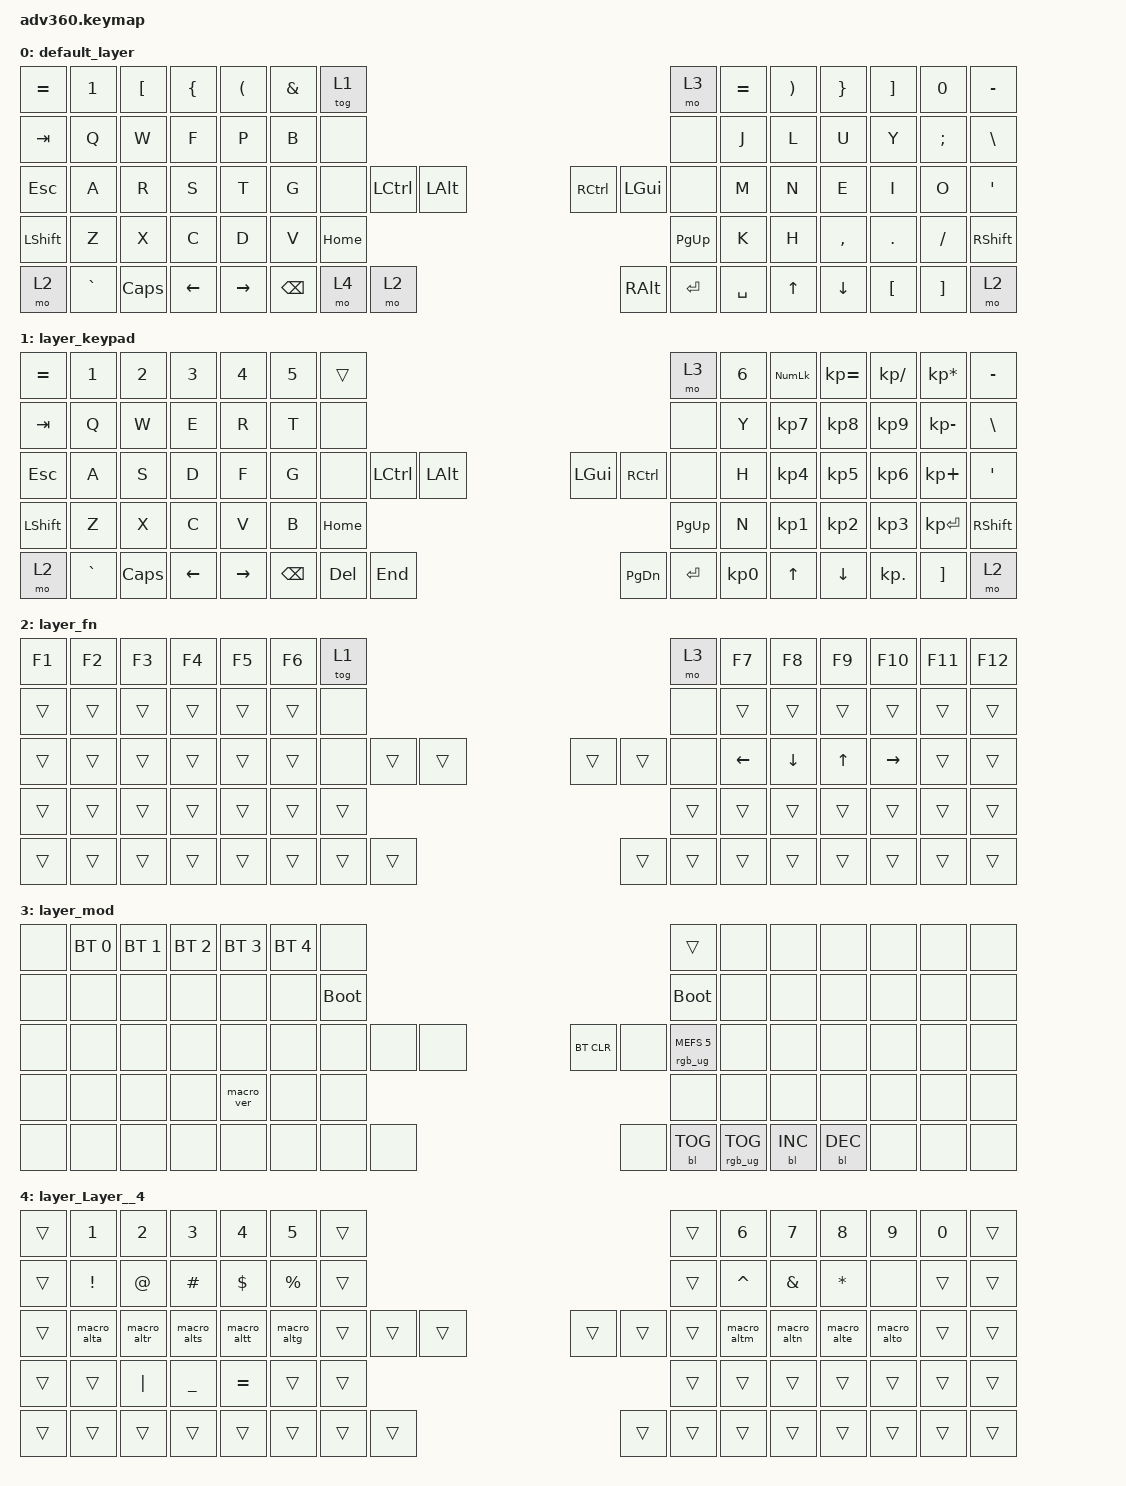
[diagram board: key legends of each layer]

/*
 * Copyright (c) 2020 The ZMK Contributors
 *
 * SPDX-License-Identifier: MIT
 */


/* THIS FILE WAS GENERATED!
 *
 * This file was generated automatically. You may or may not want to
 * edit it directly.
 */

#include <behaviors.dtsi>
#include <dt-bindings/zmk/keys.h>
#include <dt-bindings/zmk/bt.h>
#include <dt-bindings/zmk/rgb.h>
#include <dt-bindings/zmk/backlight.h>

/ {
  behaviors {
    #include "macros.dtsi"
    #include "version.dtsi"

    hm: homerow_mods {
        compatible = "zmk,behavior-hold-tap";
        label = "HOMEROW_MODS";
        #binding-cells = <2>;
        tapping-term-ms = <200>;
        quick_tap_ms = <175>;
        flavor = "tap-preferred";
        bindings = <&kp>, <&kp>;
    };
  };

    keymap {
        compatible = "zmk,keymap";


        default_layer {
            bindings = <
 &kp EQUAL     &kp N1  &kp LEFT_BRACKET  &kp LBRC  &kp LEFT_PARENTHESIS  &kp AMPERSAND              &tog 1                                                                     &mo 3  &kp EQUAL  &kp RIGHT_PARENTHESIS  &kp RIGHT_BRACE  &kp RIGHT_BRACKET         &kp N0  &kp MINUS
   &kp TAB      &kp Q             &kp W     &kp F                 &kp P          &kp B               &none                                                                     &none      &kp J                  &kp L            &kp U              &kp Y  &kp SEMICOLON   &kp BSLH
   &kp ESC      &kp A             &kp R     &kp S                 &kp T          &kp G               &none  &kp LCTRL  &kp LALT                      &kp RCTRL   &kp LGUI      &none      &kp M                  &kp N            &kp E              &kp I          &kp O    &kp SQT
 &kp LSHFT      &kp Z             &kp X     &kp C                 &kp D          &kp V                                 &kp HOME                      &kp PG_UP                            &kp K                  &kp H        &kp COMMA            &kp DOT       &kp FSLH  &kp RSHFT
     &mo 2  &kp GRAVE          &kp CAPS  &kp LEFT             &kp RIGHT                           &kp BSPC      &mo 4     &mo 2                  &kp RIGHT_ALT  &kp ENTER  &kp SPACE                            &kp UP         &kp DOWN           &kp LBKT       &kp RBKT      &mo 2
            >;
        };

        layer_keypad {
            bindings = <
 &kp EQUAL     &kp N1    &kp N2    &kp N3     &kp N4  &kp N5              &trans                                                                 &mo 3  &kp N6  &kp KP_NUM  &kp KP_EQUAL  &kp KP_DIVIDE  &kp KP_MULTIPLY  &kp MINUS
   &kp TAB      &kp Q     &kp W     &kp E      &kp R   &kp T               &none                                                                 &none   &kp Y   &kp KP_N7     &kp KP_N8      &kp KP_N9     &kp KP_MINUS   &kp BSLH
   &kp ESC      &kp A     &kp S     &kp D      &kp F   &kp G               &none  &kp LCTRL  &kp LALT                   &kp LGUI  &kp RCTRL      &none   &kp H   &kp KP_N4     &kp KP_N5      &kp KP_N6      &kp KP_PLUS    &kp SQT
 &kp LSHFT      &kp Z     &kp X     &kp C      &kp V   &kp B                                 &kp HOME                  &kp PG_UP                         &kp N   &kp KP_N1     &kp KP_N2      &kp KP_N3     &kp KP_ENTER  &kp RSHFT
     &mo 2  &kp GRAVE  &kp CAPS  &kp LEFT  &kp RIGHT                    &kp BSPC    &kp DEL   &kp END                  &kp PG_DN  &kp ENTER  &kp KP_N0              &kp UP      &kp DOWN     &kp KP_DOT         &kp RBKT      &mo 2
            >;
        };

        layer_fn {
            bindings = <
 &kp F1  &kp F2  &kp F3  &kp F4  &kp F5  &kp F6            &tog 1                                                   &mo 3          &kp F7          &kp F8        &kp F9          &kp F10  &kp F11  &kp F12
 &trans  &trans  &trans  &trans  &trans  &trans             &none                                                   &none          &trans          &trans        &trans           &trans   &trans   &trans
 &trans  &trans  &trans  &trans  &trans  &trans             &none  &trans  &trans                  &trans  &trans   &none  &kp LEFT_ARROW  &kp DOWN_ARROW  &kp UP_ARROW  &kp RIGHT_ARROW   &trans   &trans
 &trans  &trans  &trans  &trans  &trans  &trans                            &trans                  &trans                          &trans          &trans        &trans           &trans   &trans   &trans
 &trans  &trans  &trans  &trans  &trans                    &trans  &trans  &trans                  &trans  &trans  &trans                          &trans        &trans           &trans   &trans   &trans
            >;
        };

        layer_mod {
            bindings = <
  &none  &bt BT_SEL 0  &bt BT_SEL 1  &bt BT_SEL 2  &bt BT_SEL 3  &bt BT_SEL 4                  &none                                                                          &trans   &none       &none       &none   &none   &none   &none
  &none         &none         &none         &none         &none         &none            &bootloader                                                                     &bootloader   &none       &none       &none   &none   &none   &none
  &none         &none         &none         &none         &none         &none                  &none   &none   &none                  &bt BT_CLR       &none  &rgb_ug RGB_MEFS_CMD 5   &none       &none       &none   &none   &none   &none
  &none         &none         &none         &none    &macro_ver         &none                                  &none                       &none                                       &none       &none       &none   &none   &none   &none
  &none         &none         &none         &none         &none                                &none   &none   &none                       &none  &bl BL_TOG         &rgb_ug RGB_TOG          &bl BL_INC  &bl BL_DEC   &none   &none   &none
            >;
        };

        layer_Layer__4 {
            bindings = <
 &trans     &kp NUMBER_1  &kp NUMBER_2    &kp NUMBER_3  &kp NUMBER_4  &kp NUMBER_5            &trans                                                  &trans  &kp NUMBER_6   &kp NUMBER_7  &kp NUMBER_8  &kp NUMBER_9  &kp NUMBER_0  &trans
 &trans  &kp EXCLAMATION   &kp AT_SIGN       &kp POUND    &kp DOLLAR   &kp PERCENT            &trans                                                  &trans     &kp CARET  &kp AMPERSAND  &kp ASTERISK         &none        &trans  &trans
 &trans      &macro_alta   &macro_altr     &macro_alts   &macro_altt   &macro_altg            &trans  &trans  &trans                  &trans  &trans  &trans   &macro_altm    &macro_altn   &macro_alte   &macro_alto        &trans  &trans
 &trans           &trans      &kp PIPE  &kp UNDERSCORE     &kp EQUAL        &trans                            &trans                  &trans                        &trans         &trans        &trans        &trans        &trans  &trans
 &trans           &trans        &trans          &trans        &trans                          &trans  &trans  &trans                  &trans  &trans  &trans                       &trans        &trans        &trans        &trans  &trans
            >;
        };

    };
};
